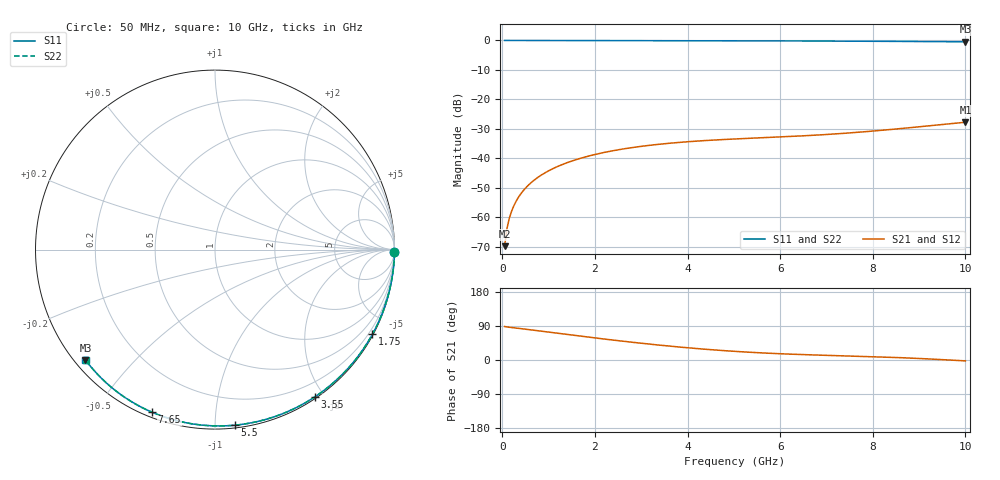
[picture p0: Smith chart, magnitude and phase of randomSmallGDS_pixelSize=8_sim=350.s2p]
! freq	dB(S11)	phase(S11)	dB(S12)	phase(S12)
!  dB(S21)	phase(S21)	dB(S22)	phase(S22)
!S-par simulation data
#  GHz  S  DB  R 50
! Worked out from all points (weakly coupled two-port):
!   200 points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, 50 MHz to 10 GHz, reference 50 ohm
!   highest |S21| = -27.73 dB at 10 GHz (marker M1); lowest = -69.8 dB at 50 MHz (marker M2)
!   lowest |S11| = -0.5 dB at 10 GHz (marker M3), VSWR 37.52, Z = 1.51 - j18.4 ohm
!   |S11| at or under -10 dB: nowhere
!   |S22| runs from -0.5 to 0.0 dB; largest |S21 - S12| = 0
!   S11 on the Smith chart (normalised r, x): 50 MHz: open; 1.75 GHz: 0.03, -3.97; 3.55 GHz: 0.02, -1.88; 5.5 GHz: 0.02, -1.12; 7.65 GHz: 0.02, -0.68; 10 GHz: 0.03, -0.37
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0.05  -0.00 -0.8  -69.76 88.3  -69.76 88.3  -0.00 -0.8
0.1  -0.00 -1.6  -63.83 87.2  -63.83 87.2  -0.00 -1.6
0.15  -0.00 -2.5  -60.38 86.4  -60.38 86.4  -0.00 -2.5
0.2  -0.00 -3.3  -57.93 85.7  -57.93 85.7  -0.00 -3.3
0.25  -0.00 -4.1  -56.03 85.0  -56.03 85.0  -0.00 -4.1
0.35  -0.00 -5.8  -53.15 83.6  -53.15 83.6  -0.00 -5.8
0.5  -0.01 -8.2  -50.09 81.3  -50.09 81.3  -0.01 -8.2
0.7  -0.01 -11.5  -47.22 78.2  -47.22 78.2  -0.01 -11.5
1  -0.02 -16.3  -44.21 73.5  -44.21 73.5  -0.02 -16.3
1.35  -0.03 -21.9  -41.74 68.1  -41.74 68.1  -0.03 -21.9
1.75  -0.04 -28.3  -39.68 62.0  -39.68 62.0  -0.04 -28.3
2.5  -0.05 -40.0  -37.08 51.0  -37.08 51.0  -0.05 -40.0
3.4  -0.07 -53.7  -35.18 39.2  -35.18 39.2  -0.07 -53.7
3.55  -0.08 -55.9  -34.94 37.4  -34.94 37.4  -0.08 -55.9
4.3  -0.10 -66.8  -34.02 29.2  -34.02 29.2  -0.10 -66.8
5.05  -0.12 -77.4  -33.38 22.6  -33.38 22.6  -0.12 -77.3
5.5  -0.14 -83.5  -33.06 19.4  -33.06 19.4  -0.14 -83.5
6.7  -0.19 -99.3  -32.17 13.4  -32.17 13.4  -0.19 -99.3
7.65  -0.25 -111.3  -31.17 10.1  -31.17 10.1  -0.25 -111.2
8.35  -0.30 -119.8  -30.25 7.3  -30.25 7.3  -0.30 -119.8
9.2  -0.38 -130.0  -28.97 2.9  -28.97 2.9  -0.38 -130.0
10  -0.46 -139.6  -27.73 -2.4  -27.73 -2.4  -0.46 -139.5
